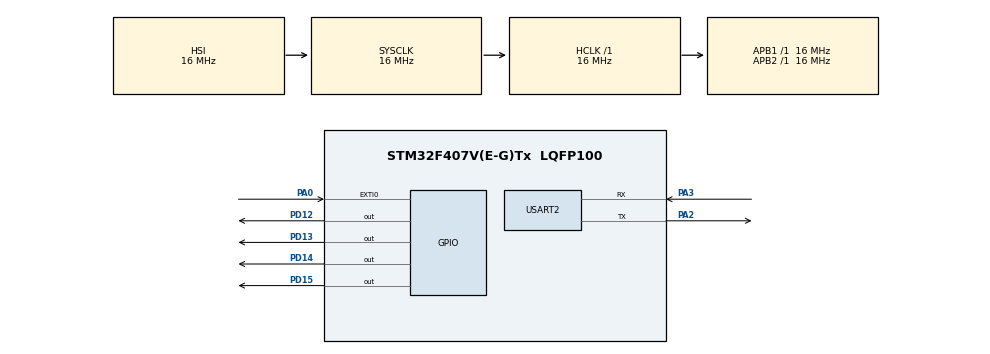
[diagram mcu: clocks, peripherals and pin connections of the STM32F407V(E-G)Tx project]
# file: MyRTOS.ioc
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FREERTOS.Mutexes01=uartMutex,Dynamic,NULL
FREERTOS.Tasks01=defaultTask,24,128,StartDefaultTask,Default,NULL,Dynamic,NULL,NULL;myTask02,8,128,StartTask02,Default,NULL,Dynamic,NULL,NULL
Mcu.Family=STM32F4
Mcu.Name=STM32F407V(E-G)Tx
Mcu.Package=LQFP100
NVIC.PriorityGroup=NVIC_PRIORITYGROUP_4
PA0-WKUP.Signal=GPXTI0
PA2.Mode=Asynchronous
PA2.Signal=USART2_TX
PA3.Mode=Asynchronous
PA3.Signal=USART2_RX
PD12.Signal=GPIO_Output
PD13.Signal=GPIO_Output
PD14.Signal=GPIO_Output
PD15.Signal=GPIO_Output
ProjectManager.HeapSize=0x200
ProjectManager.StackSize=0x400
ProjectManager.TargetToolchain=MDK-ARM V5
RCC.AHBFreq_Value=16000000
RCC.APB1Freq_Value=16000000
RCC.APB2Freq_Value=16000000
RCC.CortexFreq_Value=16000000
RCC.HSE_VALUE=25000000
RCC.HSI_VALUE=16000000
RCC.LSE_VALUE=32768
RCC.SYSCLKFreq_VALUE=16000000
RCC.VCOOutputFreq_Value=192000000
USART2.VirtualMode=VM_ASYNC
VP_FREERTOS_VS_CMSIS_V2.Mode=CMSIS_V2
board=custom

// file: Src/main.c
/* USER CODE BEGIN Header */
/**
  ******************************************************************************
  * @file           : main.c
  * @brief          : Main program body
  ******************************************************************************
  * @attention
  *
  * <h2><center>&copy; Copyright (c) 2019 STMicroelectronics.
  * All rights reserved.</center></h2>
  *
  * This software component is licensed by ST under Ultimate Liberty license
  * SLA0044, the "License"; You may not use this file except in compliance with
  * the License. You may obtain a copy of the License at:
  *                             www.st.com/SLA0044
  *
  ******************************************************************************
  */
/* USER CODE END Header */

#include "main.h"
#include "cmsis_os.h"

UART_HandleTypeDef huart2;

osThreadId_t defaultTaskHandle;
osThreadId_t myTask02Handle;
osMutexId_t uartMutexHandle;

void SystemClock_Config(void);
static void MX_GPIO_Init(void);
static void MX_USART2_UART_Init(void);
void StartDefaultTask(void *argument);
void StartTask02(void *argument);

int main(void)
{

  /* MCU Configuration--------------------------------------------------------*/

  /* Reset of all peripherals, Initializes the Flash interface and the Systick. */
  HAL_Init();

  /* Configure the system clock */
  SystemClock_Config();

  /* Initialize all configured peripherals */
  MX_GPIO_Init();
  MX_USART2_UART_Init();

  osKernelInitialize();

  /* Create the mutex(es) */
  /* definition and creation of uartMutex */
  const osMutexAttr_t uartMutex_attributes = {
    .name = "uartMutex"
  };
  uartMutexHandle = osMutexNew(&uartMutex_attributes);

  /* Create the thread(s) */
  /* definition and creation of defaultTask */
  const osThreadAttr_t defaultTask_attributes = {
    .name = "defaultTask",
    .priority = (osPriority_t) osPriorityNormal,
    .stack_size = 128
  };
  defaultTaskHandle = osThreadNew(StartDefaultTask, NULL, &defaultTask_attributes);

  /* definition and creation of myTask02 */
  const osThreadAttr_t myTask02_attributes = {
    .name = "myTask02",
    .priority = (osPriority_t) osPriorityLow,
    .stack_size = 128
  };
  myTask02Handle = osThreadNew(StartTask02, NULL, &myTask02_attributes);

  /* Start scheduler */
  osKernelStart();

  /* We should never get here as control is now taken by the scheduler */

  /* Infinite loop */
  while (1)
  {

  }
}

void SystemClock_Config(void)
{
  RCC_OscInitTypeDef RCC_OscInitStruct = {0};
  RCC_ClkInitTypeDef RCC_ClkInitStruct = {0};

  /** Configure the main internal regulator output voltage
  */
  __HAL_RCC_PWR_CLK_ENABLE();
  __HAL_PWR_VOLTAGESCALING_CONFIG(PWR_REGULATOR_VOLTAGE_SCALE1);
  /** Initializes the CPU, AHB and APB busses clocks
  */
  RCC_OscInitStruct.OscillatorType = RCC_OSCILLATORTYPE_HSI;
  RCC_OscInitStruct.HSIState = RCC_HSI_ON;
  RCC_OscInitStruct.HSICalibrationValue = RCC_HSICALIBRATION_DEFAULT;
  RCC_OscInitStruct.PLL.PLLState = RCC_PLL_NONE;
  if (HAL_RCC_OscConfig(&RCC_OscInitStruct) != HAL_OK)
  {
    Error_Handler();
  }
  /** Initializes the CPU, AHB and APB busses clocks
  */
  RCC_ClkInitStruct.ClockType = RCC_CLOCKTYPE_HCLK|RCC_CLOCKTYPE_SYSCLK
                              |RCC_CLOCKTYPE_PCLK1|RCC_CLOCKTYPE_PCLK2;
  RCC_ClkInitStruct.SYSCLKSource = RCC_SYSCLKSOURCE_HSI;
  RCC_ClkInitStruct.AHBCLKDivider = RCC_SYSCLK_DIV1;
  RCC_ClkInitStruct.APB1CLKDivider = RCC_HCLK_DIV1;
  RCC_ClkInitStruct.APB2CLKDivider = RCC_HCLK_DIV1;

  if (HAL_RCC_ClockConfig(&RCC_ClkInitStruct, FLASH_LATENCY_0) != HAL_OK)
  {
    Error_Handler();
  }
}

static void MX_USART2_UART_Init(void)
{

  huart2.Instance = USART2;
  huart2.Init.BaudRate = 115200;
  huart2.Init.WordLength = UART_WORDLENGTH_8B;
  huart2.Init.StopBits = UART_STOPBITS_1;
  huart2.Init.Parity = UART_PARITY_NONE;
  huart2.Init.Mode = UART_MODE_TX_RX;
  huart2.Init.HwFlowCtl = UART_HWCONTROL_NONE;
  huart2.Init.OverSampling = UART_OVERSAMPLING_16;
  if (HAL_UART_Init(&huart2) != HAL_OK)
  {
    Error_Handler();
  }

}

static void MX_GPIO_Init(void)
{
  GPIO_InitTypeDef GPIO_InitStruct = {0};

  /* GPIO Ports Clock Enable */
  __HAL_RCC_GPIOA_CLK_ENABLE();
  __HAL_RCC_GPIOD_CLK_ENABLE();

  /*Configure GPIO pin Output Level */
  HAL_GPIO_WritePin(GPIOD, GPIO_PIN_12|GPIO_PIN_13|GPIO_PIN_14|GPIO_PIN_15, GPIO_PIN_RESET);

  /*Configure GPIO pin : PA0 */
  GPIO_InitStruct.Pin = GPIO_PIN_0;
  GPIO_InitStruct.Mode = GPIO_MODE_IT_RISING;
  GPIO_InitStruct.Pull = GPIO_NOPULL;
  HAL_GPIO_Init(GPIOA, &GPIO_InitStruct);

  /*Configure GPIO pins : PD12 PD13 PD14 PD15 */
  GPIO_InitStruct.Pin = GPIO_PIN_12|GPIO_PIN_13|GPIO_PIN_14|GPIO_PIN_15;
  GPIO_InitStruct.Mode = GPIO_MODE_OUTPUT_PP;
  GPIO_InitStruct.Pull = GPIO_NOPULL;
  GPIO_InitStruct.Speed = GPIO_SPEED_FREQ_LOW;
  HAL_GPIO_Init(GPIOD, &GPIO_InitStruct);

}

void StartDefaultTask(void *argument)
{

  /* USER CODE BEGIN 5 */
	osStatus_t  status;
  /* Infinite loop */
  for(;;)
  {
		if (uartMutexHandle != NULL) {
    status = osMutexAcquire(uartMutexHandle, osWaitForever);
    if (status != osOK)  {
      // handle failure code
			HAL_GPIO_WritePin(GPIOD, GPIO_PIN_13, GPIO_PIN_SET);
    }
		else
		{
			HAL_GPIO_WritePin(GPIOD, GPIO_PIN_12, GPIO_PIN_SET);
		}
		status = osMutexRelease(uartMutexHandle);
    if (status != osOK)  {
      // handle failure code
			HAL_GPIO_WritePin(GPIOD, GPIO_PIN_13, GPIO_PIN_SET);
    }
		osDelay(1000);
  }

  }
  /* USER CODE END 5 */
}

void StartTask02(void *argument)
{
  /* USER CODE BEGIN StartTask02 */
	osStatus_t  status;
	//osDelay(1000);
  /* Infinite loop */
  for(;;)
  {
		if (uartMutexHandle != NULL) {
    status = osMutexAcquire(uartMutexHandle, osWaitForever);
    if (status != osOK)  {
      // handle failure code
			HAL_GPIO_WritePin(GPIOD, GPIO_PIN_13, GPIO_PIN_SET);
    }
		else
		{
			HAL_GPIO_WritePin(GPIOD, GPIO_PIN_12, GPIO_PIN_RESET);
		}
		status = osMutexRelease(uartMutexHandle);
    if (status != osOK)  {
      // handle failure code
			HAL_GPIO_WritePin(GPIOD, GPIO_PIN_13, GPIO_PIN_SET);
    }
    osDelay(2000);
  }
}
  /* USER CODE END StartTask02 */
}

void Error_Handler(void)
{
}

/************************ (C) COPYRIGHT STMicroelectronics *****END OF FILE****/
